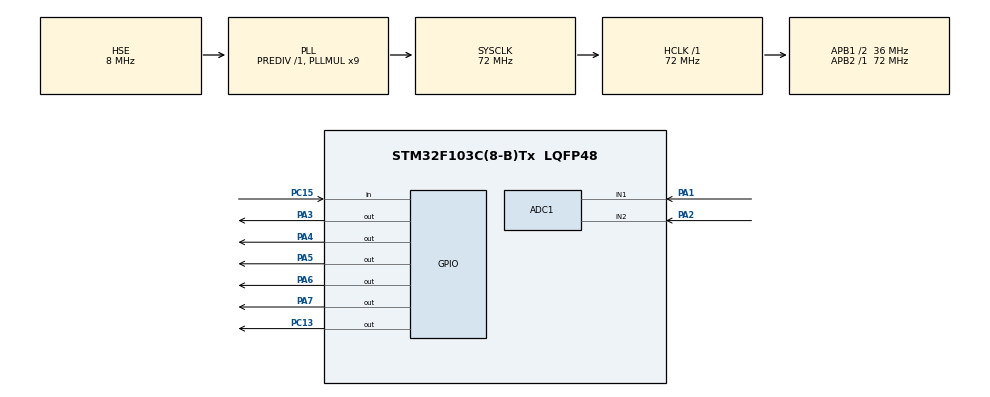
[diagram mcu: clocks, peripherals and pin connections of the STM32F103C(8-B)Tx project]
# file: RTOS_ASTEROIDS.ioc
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ADC1.Channel-0\#ChannelRegularConversion=ADC_CHANNEL_1
ADC1.Channel-1\#ChannelRegularConversion=ADC_CHANNEL_2
ADC1.ContinuousConvMode=ENABLE
ADC1.InjNumberOfConversion=0
ADC1.NbrOfConversion=2
ADC1.NbrOfConversionFlag=1
ADC1.Rank-0\#ChannelRegularConversion=1
ADC1.Rank-1\#ChannelRegularConversion=2
ADC1.SamplingTime-0\#ChannelRegularConversion=ADC_SAMPLETIME_239CYCLES_5
ADC1.SamplingTime-1\#ChannelRegularConversion=ADC_SAMPLETIME_239CYCLES_5
ADC1.master=1
Dma.ADC1.0.Direction=DMA_PERIPH_TO_MEMORY
Dma.ADC1.0.Instance=DMA1_Channel1
Dma.ADC1.0.MemDataAlignment=DMA_MDATAALIGN_WORD
Dma.ADC1.0.MemInc=DMA_MINC_ENABLE
Dma.ADC1.0.Mode=DMA_CIRCULAR
Dma.ADC1.0.PeriphDataAlignment=DMA_PDATAALIGN_WORD
Dma.ADC1.0.PeriphInc=DMA_PINC_DISABLE
Dma.ADC1.0.Priority=DMA_PRIORITY_LOW
Dma.Request0=ADC1
FREERTOS.BinarySemaphores01=Draw_semaphore,Dynamic,NULL
FREERTOS.INCLUDE_vTaskDelayUntil=1
FREERTOS.Tasks01=Space_ship,0,100,Space_ship_task,Default,NULL,Dynamic,NULL,NULL
FREERTOS.configMAX_TASK_NAME_LEN=30
FREERTOS.configMINIMAL_STACK_SIZE=64
FREERTOS.configUSE_TIMERS=0
Mcu.Family=STM32F1
Mcu.Name=STM32F103C(8-B)Tx
Mcu.Package=LQFP48
NVIC.ADC1_2_IRQn=true\:5\:0\:false\:false\:true\:true\:true\:true
NVIC.DMA1_Channel1_IRQn=true\:5\:0\:false\:false\:true\:true\:false\:true
NVIC.PriorityGroup=NVIC_PRIORITYGROUP_4
NVIC.TIM4_IRQn=true\:0\:0\:false\:false\:true\:false\:false\:true
NVIC.TimeBase=TIM4_IRQn
NVIC.TimeBaseIP=TIM4
PA1.Signal=ADCx_IN1
PA13.Mode=Serial_Wire
PA13.Signal=SYS_JTMS-SWDIO
PA14.Mode=Serial_Wire
PA14.Signal=SYS_JTCK-SWCLK
PA2.Signal=ADCx_IN2
PA3.Signal=GPIO_Output
PA4.Signal=GPIO_Output
PA5.Signal=GPIO_Output
PA6.Signal=GPIO_Output
PA7.Signal=GPIO_Output
PC13-TAMPER-RTC.Signal=GPIO_Output
PC15-OSC32_OUT.GPIO_PuPd=GPIO_PULLUP
PC15-OSC32_OUT.Signal=GPIO_Input
PD0-OSC_IN.Mode=HSE-External-Oscillator
PD0-OSC_IN.Signal=RCC_OSC_IN
PD1-OSC_OUT.Mode=HSE-External-Oscillator
PD1-OSC_OUT.Signal=RCC_OSC_OUT
ProjectManager.HeapSize=0x200
ProjectManager.StackSize=0x400
ProjectManager.TargetToolchain=Makefile
RCC.ADCPresc=RCC_ADCPCLK2_DIV6
RCC.AHBFreq_Value=72000000
RCC.APB1CLKDivider=RCC_HCLK_DIV2
RCC.APB1Freq_Value=36000000
RCC.APB1TimFreq_Value=72000000
RCC.APB2Freq_Value=72000000
RCC.APB2TimFreq_Value=72000000
RCC.HCLKFreq_Value=72000000
RCC.PLLMUL=RCC_PLL_MUL9
RCC.PLLSourceVirtual=RCC_PLLSOURCE_HSE
RCC.SYSCLKFreq_VALUE=72000000
RCC.SYSCLKSource=RCC_SYSCLKSOURCE_PLLCLK
RCC.USBFreq_Value=48000000
RCC.USBPrescaler=RCC_USBCLKSOURCE_PLL_DIV1_5
SH.ADCx_IN1.0=ADC1_IN1,IN1
SH.ADCx_IN2.0=ADC1_IN2,IN2
VP_FREERTOS_VS_CMSIS_V1.Mode=CMSIS_V1
VP_SYS_VS_tim4.Mode=TIM4
board=custom

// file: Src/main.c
/* USER CODE BEGIN Header */
/**
  ******************************************************************************
  * @file           : main.c
  * @brief          : Main program body
  ******************************************************************************
  * @attention
  *
  * <h2><center>&copy; Copyright (c) 2019 STMicroelectronics.
  * All rights reserved.</center></h2>
  *
  * This software component is licensed by ST under Ultimate Liberty license
  * SLA0044, the "License"; You may not use this file except in compliance with
  * the License. You may obtain a copy of the License at:
  *                             www.st.com/SLA0044
  *
  ******************************************************************************
  */
/* USER CODE END Header */

#include "main.h"
#include "cmsis_os.h"

/* USER CODE BEGIN Includes */
#include "_rand.h"
#include "_delay.h"
#include "defPrincipais.h"
#include "NOKIA5110_fb.h"
#include "figuras.h"
/* USER CODE END Includes */

ADC_HandleTypeDef hadc1;
DMA_HandleTypeDef hdma_adc1;

osThreadId Space_shipHandle;
osSemaphoreId Draw_semaphoreHandle;
/* USER CODE BEGIN PV */
unsigned int uSeed = 1;
int32_t Asteroid_direction[10];
uint32_t Collision[6], Button_press_flag = 0, Button_press_times = 0, ADC_buffer[2], Valor_ADC[2];

osThreadId LCD_print_handle;
osThreadId Move_space_ship_handle;
osThreadId Button_press_handle;

struct pontos_t Space_ship_points, Space_ship_boost, Bullet_points, Asteroid_points[10];
struct sig_pontos_t Space_ship_reference, Space_ship_boost_reference, Bullet_reference, Asteroid_reference[20];
/* USER CODE END PV */

void SystemClock_Config(void);
static void MX_GPIO_Init(void);
static void MX_DMA_Init(void);
static void MX_ADC1_Init(void);
void Space_ship_task(void const * argument);

/* USER CODE BEGIN PFP */
void LCD_print_task(void const * argument);
void Move_space_ship_task(void const * argument);
void Button_press_task(void const * argument);

/* USER CODE END PFP */

int main(void)
{

  /* MCU Configuration--------------------------------------------------------*/

  /* Reset of all peripherals, Initializes the Flash interface and the Systick. */
  HAL_Init();

  /* USER CODE BEGIN Init */
  HAL_ADC_MspInit(&hadc1);
  /* USER CODE END Init */

  /* Configure the system clock */
  SystemClock_Config();

  /* Initialize all configured peripherals */
  MX_GPIO_Init();
  MX_DMA_Init();
  MX_ADC1_Init();
  /* USER CODE BEGIN 2 */
  HAL_ADC_Start_DMA(&hadc1, ADC_buffer, 2);
  HAL_ADC_Start_IT(&hadc1);
  // LCD 5110 initialization
  inic_LCD();
  limpa_LCD();

  // Screen initialization
  goto_XY(0, 0);
  escreve2fb((unsigned char *) background);
  goto_XY(9, 3);
  string_LCD("Press Start");
  imprime_LCD();

  while(HAL_GPIO_ReadPin(GPIOC, GPIO_PIN_15))
  {
    uSeed++;
  }

  vSrand(uSeed);

  limpa_LCD();
  imprime_LCD();

  /* USER CODE END 2 */

  /* Create the semaphores(s) */
  /* definition and creation of Draw_semaphore */
  osSemaphoreDef(Draw_semaphore);
  Draw_semaphoreHandle = osSemaphoreCreate(osSemaphore(Draw_semaphore), 1);

  /* Create the thread(s) */
  /* definition and creation of Space_ship */
  osThreadDef(Space_ship, Space_ship_task, osPriorityNormal, 0, 100);
  Space_shipHandle = osThreadCreate(osThread(Space_ship), NULL);

  /* USER CODE BEGIN RTOS_THREADS */
  /* add threads, ... */
  osThreadDef(LCD_print, LCD_print_task, osPriorityNormal, 0, 100);
  LCD_print_handle = osThreadCreate(osThread(LCD_print), NULL);

  osThreadDef(Move_space_ship, Move_space_ship_task, osPriorityNormal, 0, 120);
  Move_space_ship_handle = osThreadCreate(osThread(Move_space_ship), NULL);

  osThreadDef(Button_press, Button_press_task, osPriorityNormal, 0, 64);
  Button_press_handle = osThreadCreate(osThread(Button_press), NULL);

  /* USER CODE END RTOS_THREADS */

  /* Start scheduler */
  osKernelStart();

  /* We should never get here as control is now taken by the scheduler */

  /* Infinite loop */
  while (1)
  {

  }
}

void SystemClock_Config(void)
{
  RCC_OscInitTypeDef RCC_OscInitStruct = {0};
  RCC_ClkInitTypeDef RCC_ClkInitStruct = {0};
  RCC_PeriphCLKInitTypeDef PeriphClkInit = {0};

  /** Initializes the CPU, AHB and APB busses clocks
  */
  RCC_OscInitStruct.OscillatorType = RCC_OSCILLATORTYPE_HSE;
  RCC_OscInitStruct.HSEState = RCC_HSE_ON;
  RCC_OscInitStruct.HSEPredivValue = RCC_HSE_PREDIV_DIV1;
  RCC_OscInitStruct.HSIState = RCC_HSI_ON;
  RCC_OscInitStruct.PLL.PLLState = RCC_PLL_ON;
  RCC_OscInitStruct.PLL.PLLSource = RCC_PLLSOURCE_HSE;
  RCC_OscInitStruct.PLL.PLLMUL = RCC_PLL_MUL9;
  if (HAL_RCC_OscConfig(&RCC_OscInitStruct) != HAL_OK)
  {
    Error_Handler();
  }
  /** Initializes the CPU, AHB and APB busses clocks
  */
  RCC_ClkInitStruct.ClockType = RCC_CLOCKTYPE_HCLK|RCC_CLOCKTYPE_SYSCLK
                              |RCC_CLOCKTYPE_PCLK1|RCC_CLOCKTYPE_PCLK2;
  RCC_ClkInitStruct.SYSCLKSource = RCC_SYSCLKSOURCE_PLLCLK;
  RCC_ClkInitStruct.AHBCLKDivider = RCC_SYSCLK_DIV1;
  RCC_ClkInitStruct.APB1CLKDivider = RCC_HCLK_DIV2;
  RCC_ClkInitStruct.APB2CLKDivider = RCC_HCLK_DIV1;

  if (HAL_RCC_ClockConfig(&RCC_ClkInitStruct, FLASH_LATENCY_2) != HAL_OK)
  {
    Error_Handler();
  }
  PeriphClkInit.PeriphClockSelection = RCC_PERIPHCLK_ADC;
  PeriphClkInit.AdcClockSelection = RCC_ADCPCLK2_DIV6;
  if (HAL_RCCEx_PeriphCLKConfig(&PeriphClkInit) != HAL_OK)
  {
    Error_Handler();
  }
}

static void MX_ADC1_Init(void)
{

  ADC_ChannelConfTypeDef sConfig = {0};

  /** Common config
  */
  hadc1.Instance = ADC1;
  hadc1.Init.ScanConvMode = ADC_SCAN_ENABLE;
  hadc1.Init.ContinuousConvMode = ENABLE;
  hadc1.Init.DiscontinuousConvMode = DISABLE;
  hadc1.Init.ExternalTrigConv = ADC_SOFTWARE_START;
  hadc1.Init.DataAlign = ADC_DATAALIGN_RIGHT;
  hadc1.Init.NbrOfConversion = 2;
  if (HAL_ADC_Init(&hadc1) != HAL_OK)
  {
    Error_Handler();
  }
  /** Configure Regular Channel
  */
  sConfig.Channel = ADC_CHANNEL_1;
  sConfig.Rank = ADC_REGULAR_RANK_1;
  sConfig.SamplingTime = ADC_SAMPLETIME_239CYCLES_5;
  if (HAL_ADC_ConfigChannel(&hadc1, &sConfig) != HAL_OK)
  {
    Error_Handler();
  }
  /** Configure Regular Channel
  */
  sConfig.Channel = ADC_CHANNEL_2;
  sConfig.Rank = ADC_REGULAR_RANK_2;
  if (HAL_ADC_ConfigChannel(&hadc1, &sConfig) != HAL_OK)
  {
    Error_Handler();
  }

}

static void MX_DMA_Init(void)
{

  /* DMA controller clock enable */
  __HAL_RCC_DMA1_CLK_ENABLE();

  /* DMA interrupt init */
  /* DMA1_Channel1_IRQn interrupt configuration */
  HAL_NVIC_SetPriority(DMA1_Channel1_IRQn, 5, 0);
  HAL_NVIC_EnableIRQ(DMA1_Channel1_IRQn);

}

static void MX_GPIO_Init(void)
{
  GPIO_InitTypeDef GPIO_InitStruct = {0};

  /* GPIO Ports Clock Enable */
  __HAL_RCC_GPIOC_CLK_ENABLE();
  __HAL_RCC_GPIOD_CLK_ENABLE();
  __HAL_RCC_GPIOA_CLK_ENABLE();

  /*Configure GPIO pin Output Level */
  HAL_GPIO_WritePin(GPIOC, GPIO_PIN_13, GPIO_PIN_RESET);

  /*Configure GPIO pin Output Level */
  HAL_GPIO_WritePin(GPIOA, GPIO_PIN_3|GPIO_PIN_4|GPIO_PIN_5|GPIO_PIN_6
                          |GPIO_PIN_7, GPIO_PIN_RESET);

  /*Configure GPIO pin : PC13 */
  GPIO_InitStruct.Pin = GPIO_PIN_13;
  GPIO_InitStruct.Mode = GPIO_MODE_OUTPUT_PP;
  GPIO_InitStruct.Pull = GPIO_NOPULL;
  GPIO_InitStruct.Speed = GPIO_SPEED_FREQ_LOW;
  HAL_GPIO_Init(GPIOC, &GPIO_InitStruct);

  /*Configure GPIO pin : PC15 */
  GPIO_InitStruct.Pin = GPIO_PIN_15;
  GPIO_InitStruct.Mode = GPIO_MODE_INPUT;
  GPIO_InitStruct.Pull = GPIO_PULLUP;
  HAL_GPIO_Init(GPIOC, &GPIO_InitStruct);

  /*Configure GPIO pins : PA3 PA4 PA5 PA6
                           PA7 */
  GPIO_InitStruct.Pin = GPIO_PIN_3|GPIO_PIN_4|GPIO_PIN_5|GPIO_PIN_6
                          |GPIO_PIN_7;
  GPIO_InitStruct.Mode = GPIO_MODE_OUTPUT_PP;
  GPIO_InitStruct.Pull = GPIO_NOPULL;
  GPIO_InitStruct.Speed = GPIO_SPEED_FREQ_LOW;
  HAL_GPIO_Init(GPIOA, &GPIO_InitStruct);

}

/* USER CODE BEGIN 4 */

/* USER CODE BEGIN Header_LCD_print_task */
/**
  * @brief  Function implementing the LCD_print thread.
  * @param  argument: Not used
  * @retval None
  */
/* USER CODE END Header_LCD_print_task */
void LCD_print_task(void const * argument)
{
  int32_t k , comp = 0, random0, random1;
  /* Infinite loop */
  for(;;)
  {
    comp = 1;

    for(k = 4; k >= 0; k--)
    {
      comp &= Collision[k];
    }

    if(comp == 1)
    {
      Collision[5] = 1;
      goto_XY(20, 1);
      string_LCD("You won!");
    }

    if(Collision[5])
    {
      for(k = 5; k >= 0; k--)
        Collision[k] = 0;

      goto_XY(20, 2);
      string_LCD("Restart?");
      imprime_LCD();

      _delay_ms(17);

      while(HAL_GPIO_ReadPin(GPIOC, GPIO_PIN_15))
      {
        uSeed++;
      }

      vSrand(uSeed);

      limpa_LCD();
      imprime_LCD();
      _delay_ms(17);

      Space_ship_points.x1 = 39;
      Space_ship_points.y1 = 21;
      Space_ship_points.x2 = 41;
      Space_ship_points.y2 = 25;
      Space_ship_points.x3 = 43;
      Space_ship_points.y3 = 21;
      Space_ship_reference.x1 = 41;
      Space_ship_reference.y1 = 22;
      Space_ship_reference.x2 = 41;
      Space_ship_reference.y2 = 22;
      Space_ship_reference.x3 = 41;
      Space_ship_reference.y3 = 22;

      Space_ship_boost.x1 = 39;
      Space_ship_boost.y1 = 19;
      Space_ship_boost.x2 = 43;
      Space_ship_boost.y2 = 19;
      Space_ship_boost_reference.x1 = 41;
      Space_ship_boost_reference.y1 = 22;
      Space_ship_boost_reference.x2 = 41;
      Space_ship_boost_reference.y2 = 22;

      // Inicialização asteróides
      for (k = 8; k >= 0; k-=2)
      {
        Asteroid_points[k].x1 = 37;
        Asteroid_points[k].y1 = 29;
        Asteroid_points[k].x2 = 33;
        Asteroid_points[k].y2 = 23;
        Asteroid_points[k].x3 = 37;
        Asteroid_points[k].y3 = 17;
        Asteroid_points[k+1].x1 = 45;
        Asteroid_points[k+1].y1 = 17;
        Asteroid_points[k+1].x2 = 49;
        Asteroid_points[k+1].y2 = 23;
        Asteroid_points[k+1].x3 = 45;
        Asteroid_points[k+1].y3 = 29;
        Asteroid_reference[k].x1 = 41;
        Asteroid_reference[k].x2 = 41;
        Asteroid_reference[k].x3 = 41;
        Asteroid_reference[k].y1 = 23;
        Asteroid_reference[k].y2 = 23;
        Asteroid_reference[k].y3 = 23;
        Asteroid_reference[k+1].x1 = 41;
        Asteroid_reference[k+1].x2 = 41;
        Asteroid_reference[k+1].x3 = 41;
        Asteroid_reference[k+1].y1 = 23;
        Asteroid_reference[k+1].y2 = 23;
        Asteroid_reference[k+1].y3 = 23;

        random0 = ulRand() % 8;
        if(random0 == 0)
        {
          Asteroid_direction[k] = 0;
          Asteroid_direction[k+1] = 1;
        }else if(random0 == 1)
        {
          Asteroid_direction[k] = 1;
          Asteroid_direction[k+1] = 1;
        }else if(random0 == 2)
        {
          Asteroid_direction[k] = 1;
          Asteroid_direction[k+1] = 0;
        }else if(random0 == 3)
        {
          Asteroid_direction[k] = 1;
          Asteroid_direction[k+1] = -1;
        }else if(random0 == 4)
        {
          Asteroid_direction[k] = 0;
          Asteroid_direction[k+1] = -1;
        }else if(random0 == 5)
        {
          Asteroid_direction[k] = -1;
          Asteroid_direction[k+1] = -1;
        }else if(random0 == 6)
        {
          Asteroid_direction[k] = -1;
          Asteroid_direction[k+1] = 0;
        }else if(random0 == 7)
        {
          Asteroid_direction[k] = -1;
          Asteroid_direction[k+1] = 1;
        }

        if(k >= 5)
        {
          random0 = (ulRand() % 20);
          random1 = (ulRand() % 10);
          move_XY(random0+41, random1+23, (struct pontos_t *) &Asteroid_points[k], (struct sig_pontos_t *) &Asteroid_reference[k]);
          move_XY(random0+41, random1+23, (struct pontos_t *) &Asteroid_points[k+1], (struct sig_pontos_t *) &Asteroid_reference[k+1]);
        }else
        {
          random0 = (ulRand() % 20);
          random1 = (ulRand() % 10);
          move_XY(random0-41, random1-23, (struct pontos_t *) &Asteroid_points[k], (struct sig_pontos_t *) &Asteroid_reference[k]);
          move_XY(random0-41, random1-23, (struct pontos_t *) &Asteroid_points[k+1], (struct sig_pontos_t *) &Asteroid_reference[k+1]);
        }
      }
    }
    imprime_LCD();
    osThreadSetPriority(LCD_print_handle, 0);
    osThreadYield();
  }
}

/* USER CODE BEGIN Header_Move_space_ship_task */
/**
  * @brief  Function implementing the Move_space_ship thread.
  * @param  argument: Not used
  * @retval None
  */
/* USER CODE END Header_Move_space_ship_task */
void Move_space_ship_task(void const * argument)
{
  uint32_t i = 0, j, l;
  int32_t k, random0, random1, angle = 0, x = 0, y = 0, x_aux, y_aux, \
  button_x = 0, button_y = 0, button_x_aux, button_y_aux;

  Space_ship_points.x1 = 39;
  Space_ship_points.y1 = 21;
  Space_ship_points.x2 = 41;
  Space_ship_points.y2 = 25;
  Space_ship_points.x3 = 43;
  Space_ship_points.y3 = 21;
  Space_ship_reference.x1 = 41;
  Space_ship_reference.y1 = 22;
  Space_ship_reference.x2 = 41;
  Space_ship_reference.y2 = 22;
  Space_ship_reference.x3 = 41;
  Space_ship_reference.y3 = 22;

  Space_ship_boost.x1 = 39;
  Space_ship_boost.y1 = 19;
  Space_ship_boost.x2 = 43;
  Space_ship_boost.y2 = 19;
  Space_ship_boost_reference.x1 = 41;
  Space_ship_boost_reference.y1 = 22;
  Space_ship_boost_reference.x2 = 41;
  Space_ship_boost_reference.y2 = 22;

  // Inicialização asteróides
  for (k = 8; k >= 0; k-=2)
  {
    Asteroid_points[k].x1 = 37;
    Asteroid_points[k].y1 = 29;
    Asteroid_points[k].x2 = 33;
    Asteroid_points[k].y2 = 23;
    Asteroid_points[k].x3 = 37;
    Asteroid_points[k].y3 = 17;
    Asteroid_points[k+1].x1 = 45;
    Asteroid_points[k+1].y1 = 17;
    Asteroid_points[k+1].x2 = 49;
    Asteroid_points[k+1].y2 = 23;
    Asteroid_points[k+1].x3 = 45;
    Asteroid_points[k+1].y3 = 29;
    Asteroid_reference[k].x1 = 41;
    Asteroid_reference[k].x2 = 41;
    Asteroid_reference[k].x3 = 41;
    Asteroid_reference[k].y1 = 23;
    Asteroid_reference[k].y2 = 23;
    Asteroid_reference[k].y3 = 23;
    Asteroid_reference[k+1].x1 = 41;
    Asteroid_reference[k+1].x2 = 41;
    Asteroid_reference[k+1].x3 = 41;
    Asteroid_reference[k+1].y1 = 23;
    Asteroid_reference[k+1].y2 = 23;
    Asteroid_reference[k+1].y3 = 23;

    random0 = ulRand() % 8;
    if(random0 == 0)
    {
      Asteroid_direction[k] = 0;
      Asteroid_direction[k+1] = 1;
    }else if(random0 == 1)
    {
      Asteroid_direction[k] = 1;
      Asteroid_direction[k+1] = 1;
    }else if(random0 == 2)
    {
      Asteroid_direction[k] = 1;
      Asteroid_direction[k+1] = 0;
    }else if(random0 == 3)
    {
      Asteroid_direction[k] = 1;
      Asteroid_direction[k+1] = -1;
    }else if(random0 == 4)
    {
      Asteroid_direction[k] = 0;
      Asteroid_direction[k+1] = -1;
    }else if(random0 == 5)
    {
      Asteroid_direction[k] = -1;
      Asteroid_direction[k+1] = -1;
    }else if(random0 == 6)
    {
      Asteroid_direction[k] = -1;
      Asteroid_direction[k+1] = 0;
    }else if(random0 == 7)
    {
      Asteroid_direction[k] = -1;
      Asteroid_direction[k+1] = 1;
    }

    if(k >= 5)
    {
      random0 = (ulRand() % 20);
      random1 = (ulRand() % 10);
      move_XY(random0+41, random1+23, (struct pontos_t *) &Asteroid_points[k], (struct sig_pontos_t *) &Asteroid_reference[k]);
      move_XY(random0+41, random1+23, (struct pontos_t *) &Asteroid_points[k+1], (struct sig_pontos_t *) &Asteroid_reference[k+1]);
    }else
    {
      random0 = (ulRand() % 20);
      random1 = (ulRand() % 10);
      move_XY(random0-41, random1-23, (struct pontos_t *) &Asteroid_points[k], (struct sig_pontos_t *) &Asteroid_reference[k]);
      move_XY(random0-41, random1-23, (struct pontos_t *) &Asteroid_points[k+1], (struct sig_pontos_t *) &Asteroid_reference[k+1]);
    }
  }

  /* Infinite loop */
  for(;;)
  {
    osSemaphoreWait(Draw_semaphoreHandle, osWaitForever);

    if(i < 360)
    {
      for(k = 8; k >= 0; k-=2)
      {
        if(k >= 5)
          girar_hexagono_antihorario((struct pontos_t *) &Asteroid_points[k], (struct sig_pontos_t *) &Asteroid_reference[k]);
        else
          girar_hexagono_horario((struct pontos_t *) &Asteroid_points[k], (struct sig_pontos_t *) &Asteroid_reference[k]);

        if(Collision[k>>1] == 0)
          Collision[5] |= colisao_triangulo_hexagono(&Space_ship_points, &Space_ship_reference, &Asteroid_points[k], &Asteroid_reference[k]);

        move_XY(Asteroid_direction[k], Asteroid_direction[k+1], (struct pontos_t *) &Asteroid_points[k], (struct sig_pontos_t *) &Asteroid_reference[k]);
        move_XY(Asteroid_direction[k], Asteroid_direction[k+1], (struct pontos_t *) &Asteroid_points[k+1], (struct sig_pontos_t *) &Asteroid_reference[k+1]);

        if(Collision[k>>1] == 0)
          Collision[5] |= colisao_triangulo_hexagono(&Space_ship_points, &Space_ship_reference, &Asteroid_points[k], &Asteroid_reference[k]);
      }

      i += 30;

      if(i == 360)
      {
        i = 0;
      }
    }

    if(Valor_ADC[0] < 1000)
    {
      girar_triangulo_antihorario(&Space_ship_points, &Space_ship_reference);

      for(k = 8; k >= 0; k-=2)
      {
        if(Collision[k>>1] == 0)
          Collision[5] |= colisao_triangulo_hexagono(&Space_ship_points, &Space_ship_reference, &Asteroid_points[k], &Asteroid_reference[k]);
      }

      rotate_counter_clock_wise(&Space_ship_boost.x1, &Space_ship_boost.y1, \
      &Space_ship_boost_reference.x1, &Space_ship_boost_reference.y1);
      rotate_counter_clock_wise(&Space_ship_boost.x2, &Space_ship_boost.y2, \
      &Space_ship_boost_reference.x2, &Space_ship_boost_reference.y2);
      angle += 45;
      if(angle == 360)
        angle = 0;
    }else if(Valor_ADC[0] > 3000)
    {
      girar_triangulo_horario(&Space_ship_points, &Space_ship_reference);

      for(k = 8; k >= 0; k-=2)
      {
        if(Collision[k>>1] == 0)
          Collision[5] |= colisao_triangulo_hexagono(&Space_ship_points, &Space_ship_reference, &Asteroid_points[k], &Asteroid_reference[k]);
      }

      rotate_clock_wise(&Space_ship_boost.x1, &Space_ship_boost.y1, \
      &Space_ship_boost_reference.x1, &Space_ship_boost_reference.y1);
      rotate_clock_wise(&Space_ship_boost.x2, &Space_ship_boost.y2, \
      &Space_ship_boost_reference.x2, &Space_ship_boost_reference.y2);
      angle -= 45;
      if(angle == -360)
        angle = 0;
    }

    if(Valor_ADC[1] > 3000)
    {
      if(angle == 0)
      {
        if(y < 3)
          y++;
      }else if(angle == 45 || angle == -315)
      {
        if(x < 3)
          x++;
        if(y < 3)
          y++;
      }else if(angle == 90 || angle == -270)
      {
        if(x < 3)
          x++;
      }else if(angle == 135 || angle == -225)
      {
        if(x < 3)
          x++;
        if(y > -3)
          y--;
      }else if(angle == 180 || angle == -180)
      {
        if(y > -3)
          y--;
      }else if(angle == 225 || angle == -135)
      {
        if(x > -3)
          x--;
        if(y > -3)
          y--;
      }else if(angle == 270 || angle == -90)
      {
        if(x > -3)
          x--;
      }else if(angle == 315 || angle == -45)
      {
        if(x > -3)
          x--;
        if(y < 3)
          y++;
      }
    }

    x_aux = x; y_aux = y;

    for(j = 3; j > 0; j--)
    {
      if(x_aux > 0)
      {
        move_XY(1, 0, &Space_ship_points, &Space_ship_reference);
        move_XY(1, 0, &Space_ship_boost, &Space_ship_boost_reference);
        x_aux--;
      }else if(x_aux < 0)
      {
        move_XY(-1, 0, &Space_ship_points, &Space_ship_reference);
        move_XY(-1, 0, &Space_ship_boost, &Space_ship_boost_reference);
        x_aux++;
      }

      for(k = 8; k >= 0; k-=2)
      {
        if(Collision[k>>1] == 0)
          Collision[5] |= colisao_triangulo_hexagono(&Space_ship_points, &Space_ship_reference, &Asteroid_points[k], &Asteroid_reference[k]);
      }
      if(y_aux > 0)
      {
        move_XY(0, 1, &Space_ship_points, &Space_ship_reference);
        move_XY(0, 1, &Space_ship_boost, &Space_ship_boost_reference);
        y_aux--;
      }else if(y_aux < 0)
      {
        move_XY(0, -1, &Space_ship_points, &Space_ship_reference);
        move_XY(0, -1, &Space_ship_boost, &Space_ship_boost_reference);
        y_aux++;
      }

      for(k = 8; k >= 0; k-=2)
      {
        if(Collision[k>>1] == 0)
          Collision[5] |= colisao_triangulo_hexagono(&Space_ship_points, &Space_ship_reference, &Asteroid_points[k], &Asteroid_reference[k]);
      }
    }

    if(Button_press_flag)
    {
      if(angle == 0)
      {
        button_x = 0;
        button_y = 1;
      }else if(angle == 45 || angle == -315)
      {
        button_x = 1;
        button_y = 1;
      }else if(angle == 90 || angle == -270)
      {
        button_x = 1;
        button_y = 0;
      }else if(angle == 135 || angle == -225)
      {
        button_x = 1;
        button_y = -1;
      }else if(angle == 180 || angle == -180)
      {
        button_x = 0;
        button_y = -1;
      }else if(angle == 225 || angle == -135)
      {
        button_x = -1;
        button_y = -1;
      }else if(angle == 270 || angle == -90)
      {
        button_x = -1;
        button_y = 0;
      }else if(angle == 315 || angle == -45)
      {
        button_x = -1;
        button_y = 1;
      }

      if(button_x_aux == 0 && button_y_aux == 0)
      {
        button_x_aux = button_x;
        button_y_aux = button_y;

        Bullet_points.x2 = Space_ship_points.x2;
        Bullet_points.y2 = Space_ship_points.y2;
        Bullet_reference.x2 = Space_ship_reference.x2;
        Bullet_reference.y2 = Space_ship_reference.y2;
        move_XY(-button_x, -button_y, &Bullet_points, &Bullet_reference);

        Bullet_points.x1 = Space_ship_points.x2;
        Bullet_points.y1 = Space_ship_points.y2;
        Bullet_reference.x1 = Space_ship_reference.x2;
        Bullet_reference.y1 = Space_ship_reference.y2;
      }

      for(l = 2; l > 0; l--)
      {
        move_XY(button_x_aux, button_y_aux, &Bullet_points, &Bullet_reference);
        Button_press_times++;

        for(k = 8; k >= 0; k-=2)
        {  if(Collision[k>>1] == 0)
            Collision[k>>1] |= colisao_linha_hexagono(&Bullet_points, &Bullet_reference, (struct pontos_t *) &Asteroid_points[k], (struct sig_pontos_t *) &Asteroid_reference[k]);
        }
      }

      if(Button_press_times == 10)
      {
        button_x_aux = 0;
        button_y_aux = 0;
        Button_press_times = 0;
        Button_press_flag = 0;
      }
    }
    osSemaphoreRelease(Draw_semaphoreHandle);

    if(Collision[5])
    {
      i = 0, j = 0;
      angle = 0, x = 0, y = 0, x_aux = 0, y_aux = 0;
      button_x = 0, button_y = 0, button_x_aux = 0, button_y_aux = 0;
      osThreadSetPriority(LCD_print_handle, 1);
    }

    osThreadYield();
  }
}

/* USER CODE BEGIN Header_Button_press_task */
/**
  * @brief  Function implementing the Button_press thread.
  * @param  argument: Not used
  * @retval None
  */
/* USER CODE END Header_Button_press_task */
void Button_press_task(void const * argument)
{
  /* Infinite loop */
  for(;;)
  {
    if(!HAL_GPIO_ReadPin(GPIOC, GPIO_PIN_15))
      Button_press_flag = 1;

    osDelay(20);
  }
}

/* USER CODE END 4 */

void Space_ship_task(void const * argument)
{
  /* USER CODE BEGIN 5 */
  int32_t k;
  struct pontos_t pt;
  struct sig_pontos_t pt_ref;
  /* Infinite loop */
  for(;;)
  {
    osSemaphoreWait(Draw_semaphoreHandle, osWaitForever);

    for(k = 8; k >= 0; k-=2)
    {
      if(!Collision[k>>1])
        desenha_hexagono((struct pontos_t *) &Asteroid_points[k], (struct sig_pontos_t *) &Asteroid_reference[k], 1);
    }

    if(Button_press_times > 0)
    {
      copia_pontos(&Bullet_points, &Bullet_reference, &pt, &Bullet_reference);
      auto_map_XY(&pt, &Bullet_reference);
      desenha_linha(&pt, 1);
    }

    if(Valor_ADC[1] > 3000)
    {
      copia_pontos(&Space_ship_boost, &Space_ship_boost_reference, &pt, &pt_ref);
      auto_map_XY(&pt, &pt_ref);
      desenha_linha(&pt, 1);
    }
    desenha_triangulo(&Space_ship_points, &Space_ship_reference, (uint32_t) 1);
    osDelay(120);

    for(k = 8; k >= 0; k-=2)
    {
      desenha_hexagono((struct pontos_t *) &Asteroid_points[k], (struct sig_pontos_t *) &Asteroid_reference[k], 0);
    }

    if(Button_press_times > 0)
    {
      copia_pontos(&Bullet_points, &Bullet_reference, &pt, &Bullet_reference);
      auto_map_XY(&pt, &Bullet_reference);
      desenha_linha(&pt, 0);
    }

    copia_pontos(&Space_ship_boost, &Space_ship_boost_reference, &pt, &pt_ref);
    auto_map_XY(&pt, &pt_ref);
    desenha_linha(&pt, 0);
    desenha_triangulo(&Space_ship_points, &Space_ship_reference, (uint32_t) 0);

    osSemaphoreRelease(Draw_semaphoreHandle);

    osThreadYield();
  }
  /* USER CODE END 5 */
}

void HAL_TIM_PeriodElapsedCallback(TIM_HandleTypeDef *htim)
{
  if (htim->Instance == TIM4) {
    HAL_IncTick();
  }
}

void Error_Handler(void)
{
}

/************************ (C) COPYRIGHT STMicroelectronics *****END OF FILE****/
